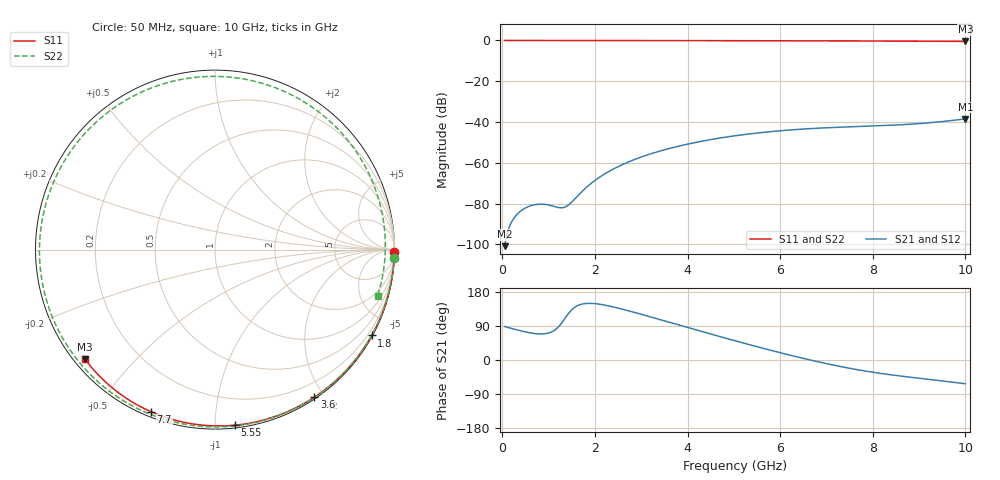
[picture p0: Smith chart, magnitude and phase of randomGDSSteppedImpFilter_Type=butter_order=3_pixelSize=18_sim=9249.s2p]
! freq	dB(S11)	phase(S11)	dB(S12)	phase(S12)
!  dB(S21)	phase(S21)	dB(S22)	phase(S22)
!S-par simulation data
#  GHz  S  DB  R 50
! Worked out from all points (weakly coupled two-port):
!   200 points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, 50 MHz to 10 GHz, reference 50 ohm
!   highest |S21| = -38.48 dB at 10 GHz (marker M1); lowest = -100.9 dB at 50 MHz (marker M2)
!   lowest |S11| = -0.5 dB at 10 GHz (marker M3), VSWR 36.83, Z = 1.54 - j18.3 ohm
!   |S11| at or under -10 dB: nowhere
!   |S22| runs from -0.5 to 0.0 dB; largest |S21 - S12| = 0
!   S11 on the Smith chart (normalised r, x): 50 MHz: open; 1.8 GHz: 0.03, -3.91; 3.6 GHz: 0.02, -1.88; 5.55 GHz: 0.02, -1.12; 7.7 GHz: 0.02, -0.68; 10 GHz: 0.03, -0.37
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0.05  -0.00 -0.8  -100.91 88.3  -100.91 88.3  -0.00 -2.7
0.4  -0.01 -6.5  -83.63 76.9  -83.63 76.9  -0.03 -21.3
0.8  -0.02 -12.9  -80.31 68.9  -80.31 68.9  -0.05 -42.1
1.15  -0.02 -18.5  -81.61 80.4  -81.61 80.4  -0.07 -59.6
1.45  -0.03 -23.2  -80.30 125.9  -80.30 125.9  -0.09 -74.0
1.75  -0.04 -27.9  -73.45 148.2  -73.45 148.2  -0.10 -87.7
1.8  -0.04 -28.7  -72.40 149.1  -72.40 149.1  -0.11 -89.9
2.1  -0.04 -33.4  -67.08 147.2  -67.08 147.2  -0.12 -102.9
2.45  -0.05 -38.8  -62.47 138.5  -62.47 138.5  -0.13 -117.3
2.95  -0.06 -46.4  -57.60 122.3  -57.60 122.3  -0.15 -136.7
3.4  -0.07 -53.1  -54.28 106.8  -54.28 106.8  -0.16 -153.2
3.6  -0.08 -56.0  -53.03 99.8  -53.03 99.8  -0.17 -160.3
4.3  -0.09 -66.2  -49.46 75.5  -49.46 75.5  -0.20 175.6
5.05  -0.12 -76.7  -46.68 50.0  -46.68 50.0  -0.23 150.5
5.55  -0.14 -83.6  -45.29 33.5  -45.29 33.5  -0.25 133.9
6.15  -0.16 -91.6  -44.02 14.7  -44.02 14.7  -0.28 113.7
6.7  -0.19 -98.8  -43.18 -1.4  -43.18 -1.4  -0.30 95.0
7.2  -0.22 -105.2  -42.64 -14.7  -42.64 -14.7  -0.32 77.8
7.7  -0.25 -111.5  -42.22 -26.3  -42.22 -26.3  -0.34 60.5
8.35  -0.31 -119.6  -41.66 -38.4  -41.66 -38.4  -0.37 38.1
9.15  -0.38 -129.4  -40.51 -50.2  -40.51 -50.2  -0.42 11.3
10  -0.47 -139.7  -38.48 -62.6  -38.48 -62.6  -0.52 -15.8
